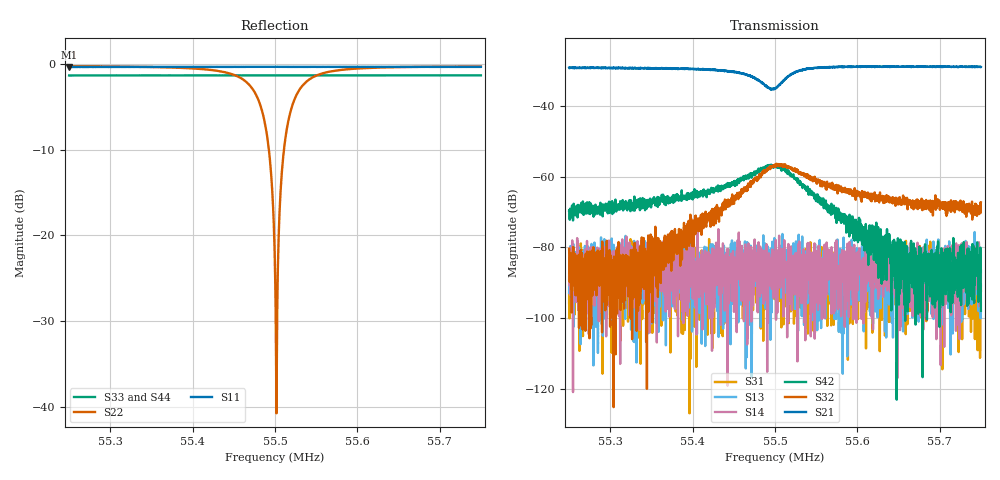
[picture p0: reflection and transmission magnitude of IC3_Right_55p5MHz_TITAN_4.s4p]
#  HZ  S  DB  R  50.00
! Rohde & Schwarz Vector Network Analyzer
! Rohde-Schwarz,ZNB8-4Port,1311601044102961,2.82
! Created: UTC 2/8/2019, 2:44:49 PM
! freq[Hz]  db:S11  ang:S11  db:S12  ang:S12  db:S13  ang:S13  db:S14  ang:S14
!  db:S21  ang:S21  db:S22  ang:S22  db:S23  ang:S23  db:S24  ang:S24
!  db:S31  ang:S31  db:S32  ang:S32  db:S33  ang:S33  db:S34  ang:S34
!  db:S41  ang:S41  db:S42  ang:S42  db:S43  ang:S43  db:S44  ang:S44
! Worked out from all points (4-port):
!   2001 points, 55.25 MHz to 55.75 MHz, reference 50 ohm
!   strongest paths, dB at 55.25 MHz, 55.375 MHz, 55.5 MHz, 55.625 MHz, 55.75 MHz:
!     S21: -29.3, -29.6, -35.0, -29.0, -29.1
!     S32: -80.4, -78.7, -57.1, -66.2, -67.3
!     S42: -69.6, -65.9, -56.9, -80.0, -98.0
!     S14: -89.1, -89.9, -84.7, -85.7, -91.0
!     S13: -92.9, -92.6, -88.0, -84.5, -86.5
!     S31: -95.7, -85.0, -86.7, -85.0, -92.2
!   lowest |S11| = -0.4 dB at 55.25 MHz (marker M1), VSWR 45.13, Z = 1.85 + j40.9 ohm
!   |S11| at or under -10 dB: nowhere
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5.525e7  -0.38 101.4  -29.35 88.9  -92.89 -6.9  -89.08 -67.2
         -29.27 88.8  -0.29 -103.2  -81.37 -96.3  -69.31 -119.7
         -95.74 -126.3  -80.41 -170.2  -1.37 41.6  -83.13 -44.9
         -97.76 -102.1  -69.63 -129.1  -86.08 -165.7  -1.38 48.4
5.54695e7  -0.36 97.4  -31.64 68.9  -81.93 167.7  -84.09 -119.1
           -31.44 68.7  -2.53 -149.6  -61.70 14.2  -59.66 -158.1
           -97.40 97.1  -62.05 11.3  -1.36 38.9  -85.11 132.8
           -85.04 84.1  -59.19 -156.1  -105.62 95.6  -1.37 45.7
5.549175e7  -0.36 97.1  -34.88 77.7  -86.88 175.9  -86.83 -137.4
            -34.83 77.5  -9.35 178.4  -57.73 -21.1  -57.27 174.3
            -89.36 47.2  -58.07 -21.6  -1.36 38.7  -93.02 -170.2
            -84.50 -97.6  -56.77 168.3  -87.54 -77.7  -1.37 45.4
5.550175e7  -0.36 96.9  -35.00 98.7  -83.34 60.2  -83.98 -53.3
            -34.86 98.2  -40.71 68.7  -56.93 -41.7  -57.12 151.6
            -81.21 106.8  -56.69 -39.0  -1.36 38.5  -90.88 -88.0
            -84.80 -54.8  -57.39 150.5  -83.62 62.3  -1.37 45.3
5.551175e7  -0.36 96.7  -32.62 107.7  -80.72 35.6  -86.15 -59.8
            -32.63 107.6  -9.30 -41.0  -56.90 -63.7  -58.26 130.4
            -86.93 -146.8  -56.64 -62.5  -1.36 38.4  -94.20 -154.2
            -82.35 32.7  -58.21 129.1  -81.80 119.1  -1.36 45.2
5.553375e7  -0.37 96.3  -29.89 100.7  -91.43 173.7  -86.29 93.7
            -29.80 100.7  -2.51 -73.2  -59.73 -91.7  -63.01 101.3
            -93.20 123.9  -59.12 -91.1  -1.35 38.2  -87.69 139.1
            -87.13 -150.2  -62.24 103.8  -87.50 -5.3  -1.37 44.9
5.575e7  -0.36 92.4  -29.02 75.9  -86.50 1.9  -90.98 4.0
         -29.06 75.8  -0.32 -120.1  -69.56 -134.1  -114.17 25.6
         -92.23 -168.0  -67.28 -131.5  -1.35 35.5  -82.39 99.2
         -88.77 -14.7  -97.96 3.7  -89.51 18.6  -1.36 42.3
